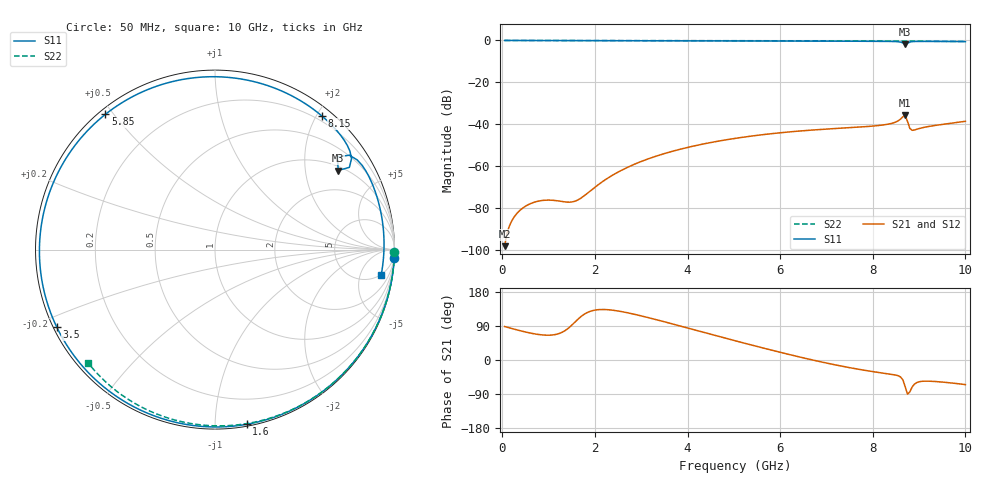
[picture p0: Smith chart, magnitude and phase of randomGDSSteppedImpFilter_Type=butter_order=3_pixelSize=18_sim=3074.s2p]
! freq	dB(S11)	phase(S11)	dB(S12)	phase(S12)
!  dB(S21)	phase(S21)	dB(S22)	phase(S22)
!S-par simulation data
#  GHz  S  DB  R 50
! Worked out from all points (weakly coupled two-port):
!   200 points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, 50 MHz to 10 GHz, reference 50 ohm
!   highest |S21| = -35.86 dB at 8.7 GHz (marker M1); lowest = -98.4 dB at 50 MHz (marker M2)
!   lowest |S11| = -1.8 dB at 8.7 GHz (marker M3), VSWR 9.85, Z = 57.2 + j151 ohm
!   |S11| at or under -10 dB: nowhere
!   |S22| runs from -0.5 to 0.0 dB; largest |S21 - S12| = 0
!   S11 on the Smith chart (normalised r, x): 50 MHz: 0, -43; 1.6 GHz: 0.01, -1.20; 3.5 GHz: 0.01, -0.23; 5.85 GHz: 0.02, +0.48; 8.15 GHz: 0.13, +2.07; 10 GHz: 5, -11
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0.05  -0.00 -2.7  -98.36 88.3  -98.36 88.3  -0.00 -0.8
0.45  -0.03 -23.6  -80.00 75.4  -80.00 75.4  -0.01 -7.2
0.9  -0.06 -46.5  -76.42 65.8  -76.42 65.8  -0.02 -14.3
1.25  -0.08 -63.5  -76.86 70.9  -76.86 70.9  -0.02 -19.8
1.6  -0.09 -79.7  -76.60 103.7  -76.60 103.7  -0.03 -25.2
1.75  -0.10 -86.4  -74.58 119.2  -74.58 119.2  -0.04 -27.6
2.5  -0.13 -117.5  -62.94 129.3  -62.94 129.3  -0.05 -39.0
3.4  -0.16 -150.6  -54.76 104.1  -54.76 104.1  -0.07 -52.4
3.5  -0.16 -154.0  -54.09 100.8  -54.09 100.8  -0.07 -53.9
4.25  -0.19 -179.2  -49.92 76.2  -49.92 76.2  -0.09 -64.6
5.05  -0.23 154.9  -46.74 50.1  -46.74 50.1  -0.12 -75.8
5.85  -0.27 129.0  -44.48 24.9  -44.48 24.9  -0.15 -86.5
6.7  -0.31 101.1  -42.82 0.0  -42.82 0.0  -0.19 -97.6
7.4  -0.35 77.5  -41.83 -17.9  -41.83 -17.9  -0.23 -106.4
8.15  -0.41 51.5  -40.61 -33.3  -40.61 -33.3  -0.29 -115.7
8.35  -0.46 44.2  -39.94 -36.7  -39.94 -36.7  -0.30 -118.1
8.6  -0.78 33.7  -37.59 -44.8  -37.59 -44.8  -0.32 -121.2
8.7  -1.77 32.7  -35.86 -70.8  -35.86 -70.8  -0.33 -122.4
8.8  -0.77 35.1  -42.06 -84.0  -42.06 -84.0  -0.34 -123.6
8.85  -0.57 32.2  -42.96 -71.3  -42.96 -71.3  -0.34 -124.2
9.35  -0.47 12.7  -40.62 -56.7  -40.62 -56.7  -0.40 -130.2
10  -0.57 -8.7  -38.65 -64.9  -38.65 -64.9  -0.47 -138.0
